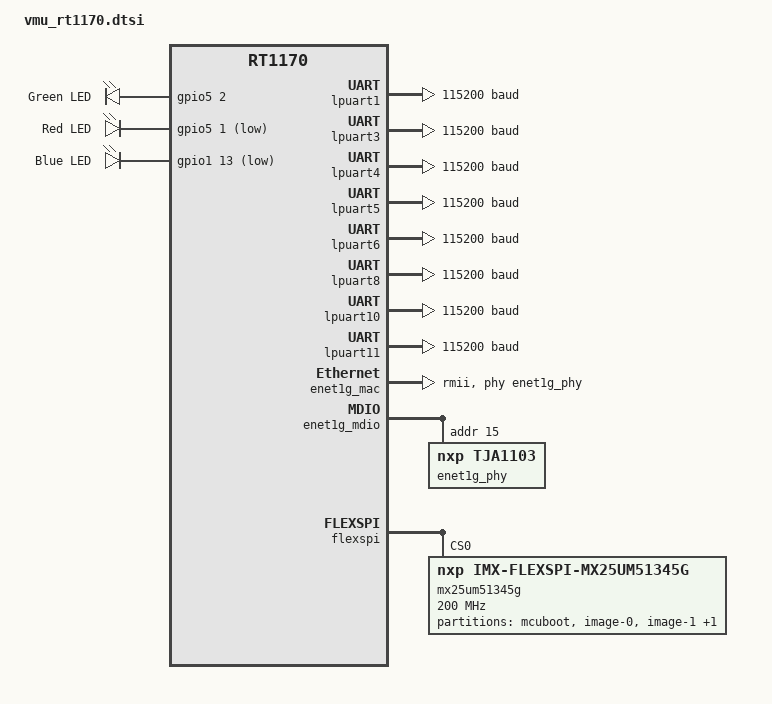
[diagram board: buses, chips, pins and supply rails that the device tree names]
/*
 * Copyright 2023 NXP
 *
 * SPDX-License-Identifier: Apache-2.0
 */

#include "vmu_rt1170-pinctrl.dtsi"
#include <nxp/nxp_rt1170.dtsi>

/ {
	aliases {
		led0 = &green_led;
		led1 = &red_led;
		led2 = &blue_led;
		sdhc0 = &usdhc1;
	};

	leds {
		compatible = "gpio-leds";

		green_led: led-1 {
			gpios = <&gpio5 2 GPIO_ACTIVE_HIGH>;
			label = "Green LED";
		};

		red_led: led-2 {
			gpios = <&gpio5 1 GPIO_ACTIVE_LOW>;
			label = "Red LED";
		};

		blue_led: led-3 {
			gpios = <&gpio1 13 GPIO_ACTIVE_LOW>;
			label = "Blue LED";
		};
	};
};

&semc {
	status = "disabled";
};

&lpuart1 {
	status = "okay";
	pinctrl-0 = <&pinmux_lpuart1>;
	pinctrl-names = "default";
	current-speed = <115200>;
};

&lpuart3 {
	status = "okay";
	pinctrl-0 = <&pinmux_lpuart3>;
	pinctrl-names = "default";
	current-speed = <115200>;
};

&lpuart4 {
	status = "okay";
	pinctrl-0 = <&pinmux_lpuart4>;
	pinctrl-names = "default";
	current-speed = <115200>;
};

&lpuart5 {
	status = "okay";
	pinctrl-0 = <&pinmux_lpuart5>;
	pinctrl-names = "default";
	current-speed = <115200>;
};

&lpuart6 {
	status = "okay";
	pinctrl-0 = <&pinmux_lpuart6>;
	pinctrl-names = "default";
	current-speed = <115200>;
};

&lpuart8 {
	status = "okay";
	pinctrl-0 = <&pinmux_lpuart8>;
	pinctrl-names = "default";
	current-speed = <115200>;
};

&lpuart10 {
	status = "okay";
	pinctrl-0 = <&pinmux_lpuart10>;
	pinctrl-names = "default";
	current-speed = <115200>;
};

&lpuart11 {
	status = "okay";
	pinctrl-0 = <&pinmux_lpuart11>;
	pinctrl-names = "default";
	current-speed = <115200>;
};

&green_led {
	status = "okay";
};

&enet1g_mac {
	pinctrl-0 = <&pinmux_enet1g>;
	pinctrl-names = "default";
	phy-handle = <&enet1g_phy>;
	phy-connection-type = "rmii";
	zephyr,random-mac-address;
};

&enet1g_mdio {
	pinctrl-0 = <&pinmux_enet1g_mdio>;
	pinctrl-names = "default";

	enet1g_phy: phy@f {
		compatible = "nxp,tja1103";
		reg = <0xf>;
		master-slave = "master";
	};
};

&enet1g_ptp_clock {
	pinctrl-0 = <&pinmux_enet1g_ptp>;
	pinctrl-names = "default";
};

&flexcan1 {
	pinctrl-0 = <&pinmux_flexcan1>;
	pinctrl-names = "default";
};

&flexcan2 {
	pinctrl-0 = <&pinmux_flexcan2>;
	pinctrl-names = "default";
};

&flexcan3 {
	pinctrl-0 = <&pinmux_flexcan3>;
	pinctrl-names = "default";
};

&lpi2c1 {
	pinctrl-0 = <&pinmux_lpi2c1>;
	pinctrl-names = "default";
};

&lpi2c2 {
	pinctrl-0 = <&pinmux_lpi2c2>;
	pinctrl-names = "default";
};

&lpi2c3 {
	pinctrl-0 = <&pinmux_lpi2c3>;
	pinctrl-names = "default";
};

&lpi2c6 {
	pinctrl-0 = <&pinmux_lpi2c6>;
	pinctrl-names = "default";
};

&lpspi1 {
	pinctrl-0 = <&pinmux_lpspi1>;
	pinctrl-names = "default";
};

&lpspi2 {
	pinctrl-0 = <&pinmux_lpspi2>;
	pinctrl-names = "default";
};

&lpspi3 {
	pinctrl-0 = <&pinmux_lpspi3>;
	pinctrl-names = "default";
};

&lpspi6 {
	pinctrl-0 = <&pinmux_lpspi6>;
	pinctrl-names = "default";
};

&lpadc2 {
	pinctrl-0 = <&pinmux_lpadc2>;
	pinctrl-names = "default";
};

&flexspi {
	pinctrl-0 = <&pinmux_flexspi1>;
	pinctrl-names = "default";
};

&usdhc1 {
	pinctrl-0 = <&pinmux_usdhc1>;
	pinctrl-names = "default";
};

&flexspi {
	status = "okay";
	ahb-prefetch;
	ahb-read-addr-opt;
	rx-clock-source = <1>;
	reg = <0x400cc000 0x4000>, <0x30000000 DT_SIZE_M(64)>;

	mx25um51345g: mx25um51345g@0 {
		compatible = "nxp,imx-flexspi-mx25um51345g";
		/* MX25UM51245G is 64MB, 512MBit flash part */
		size = <DT_SIZE_M(64 * 8)>;
		reg = <0>;
		spi-max-frequency = <DT_FREQ_M(200)>;
		status = "okay";
		jedec-id = [c2 81 3a];
		erase-block-size = <DT_SIZE_K(4)>;
		write-block-size = <2>; /* FLASH_MCUX_FLEXSPI_MX25UM51345G_OPI_DTR set */

		partitions {
			compatible = "fixed-partitions";
			#address-cells = <1>;
			#size-cells = <1>;

			/*
			 * Partition sizes must be aligned
			 * to the flash memory sector size of 4KB.
			 */
			boot_partition: partition@0 {
				label = "mcuboot";
				reg = <0x00000000 DT_SIZE_K(128)>;
			};

			slot0_partition: partition@20000 {
				label = "image-0";
				reg = <0x00020000 DT_SIZE_M(3)>;
			};

			slot1_partition: partition@320000 {
				label = "image-1";
				reg = <0x00320000 DT_SIZE_M(3)>;
			};

			storage_partition: partition@620000 {
				label = "storage";
				reg = <0x00620000 (DT_SIZE_M(58) - DT_SIZE_K(128))>;
			};
		};
	};
};
